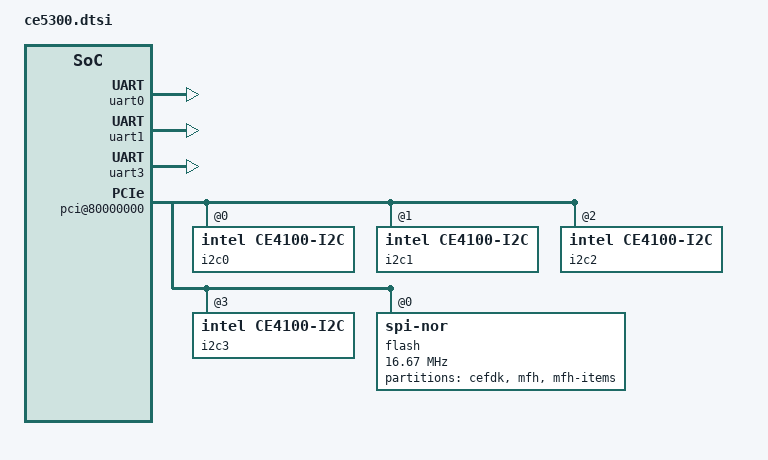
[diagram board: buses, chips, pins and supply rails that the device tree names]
// SPDX-License-Identifier: GPL-2.0
/*
 * Intel Atom CE5300 (CE5310) SoC functions. ACPI still owns the platform; this
 * tree hangs board devices off PCI functions, matched by devfn in reg.
 * See site/src/content/docs/ea/device-tree.md.
 */
#include <dt-bindings/gpio/gpio.h>

/ {
	#address-cells = <1>;
	#size-cells = <1>;

	aliases {
		/* Bus numbers are ABI: userspace and the audio driver name them. */
		i2c0 = &i2c0;
		i2c1 = &i2c1;
		i2c2 = &i2c2;
		i2c3 = &i2c3;
		/* ttyS numbers the console relies on. */
		serial0 = &uart0;
		serial1 = &uart1;
		serial3 = &uart3;
	};

	chosen {
		#address-cells = <1>;
		#size-cells = <1>;
		ranges;
	};

	/*
	 * GEN3 UARTs on legacy I/O ports. Timer-polled: no `interrupts` on purpose.
	 * The node name "isa" is what OF I/O-space translation keys on.
	 */
	isa {
		compatible = "simple-bus";
		#address-cells = <2>;
		#size-cells = <1>;
		ranges = <1 0 0 0x10000>;

		uart0: serial@1,3f8 {
			compatible = "intel,xscale-uart";
			reg = <1 0x3f8 8>;
			clock-frequency = <14745600>;
		};

		uart1: serial@1,2f8 {
			compatible = "intel,xscale-uart";
			reg = <1 0x2f8 8>;
			clock-frequency = <14745600>;
		};

		uart3: serial@1,2e8 {
			compatible = "intel,xscale-uart";
			reg = <1 0x2e8 8>;
			clock-frequency = <14745600>;
		};
	};

	pci@80000000 {
		#address-cells = <3>;
		#size-cells = <2>;
		device_type = "pci";
		bus-range = <0 0>;
		/* Informational: ACPI assigns the windows. */
		ranges = <0x02000000 0 0x80000000 0x80000000 0 0x80000000>;

		/* A/V bridge (8086:0700) to bus 1 */
		pci@1,0 {
			#address-cells = <3>;
			#size-cells = <2>;
			device_type = "pci";
			bus-range = <1 1>;
			reg = <0x0800 0 0 0 0>;
			ranges;

			/* ce5300-i2s (8086:2e60) */
			audio: multimedia@6,2 {
				reg = <0x13200 0 0 0 0>;
			};

			/* UART1's PCI face (8086:2e66). Keep disabled: binding it
			 * kills the legacy 0x2F8 port the IO-MCU is on. */
			serial@b,0 {
				reg = <0x15800 0 0 0 0>;
				status = "disabled";
			};

			/* gpio-intelce (8086:2e67): 4 banks x 32, base 0 */
			gpio: gpio@b,1 {
				reg = <0x15900 0 0 0 0>;
				gpio-controller;
				#gpio-cells = <2>;
			};

			/* i2c-pxa-pci (8086:2e68): one adapter per BAR, children
			 * matched by BAR index (patch 0001). */
			i2c@b,2 {
				reg = <0x15a00 0 0 0 0>;
				#address-cells = <1>;
				#size-cells = <0>;

				i2c0: i2c@0 {
					compatible = "intel,ce4100-i2c";
					reg = <0>;
					#address-cells = <1>;
					#size-cells = <0>;
				};

				i2c1: i2c@1 {
					compatible = "intel,ce4100-i2c";
					reg = <1>;
					#address-cells = <1>;
					#size-cells = <0>;
				};

				i2c2: i2c@2 {
					compatible = "intel,ce4100-i2c";
					reg = <2>;
					#address-cells = <1>;
					#size-cells = <0>;
				};

				i2c3: i2c@3 {
					compatible = "intel,ce4100-i2c";
					reg = <3>;
					#address-cells = <1>;
					#size-cells = <0>;
				};
			};

			/* spi-pxa2xx-pci (8086:2e6a); children are SPI devices */
			ssp: spi@b,4 {
				reg = <0x15c00 0 0 0 0>;
				#address-cells = <1>;
				#size-cells = <0>;
			};

			/* pwm-ce5300 (8086:089f): <channel period-ns flags> */
			pwm: pwm@b,6 {
				reg = <0x15e00 0 0 0 0>;
				#pwm-cells = <3>;
			};

			/* e1000 (8086:2e6e), fake-PHY; the DSA conduit */
			gbe: ethernet@c,0 {
				reg = <0x16000 0 0 0 0>;
			};

			/* ehci-pci (192e:0101): the rear USB port */
			usb_rear: usb@d,1 {
				reg = <0x16900 0 0 0 0>;
			};

			/* spi-ea-ce5xx (8086:08a0): the boot-flash controller */
			bootflash: spi@17,0 {
				reg = <0x1b800 0 0 0 0>;
				#address-cells = <1>;
				#size-cells = <0>;

				flash@0 {
					compatible = "jedec,spi-nor";
					reg = <0>;
					spi-max-frequency = <16670000>;

					/*
					 * Read-only views; mtd0 stays the whole chip and
					 * all writes go through it.
					 */
					partitions {
						compatible = "fixed-partitions";
						#address-cells = <1>;
						#size-cells = <1>;

						partition@0 {
							label = "cefdk";
							reg = <0x0 0x80000>;
							read-only;
						};
						partition@80000 {
							label = "mfh";
							reg = <0x80000 0x800>;
							read-only;
						};
						partition@80800 {
							label = "mfh-items";
							reg = <0x80800 0xf7f800>;
							read-only;
						};
					};
				};
			};
		};
	};
};
